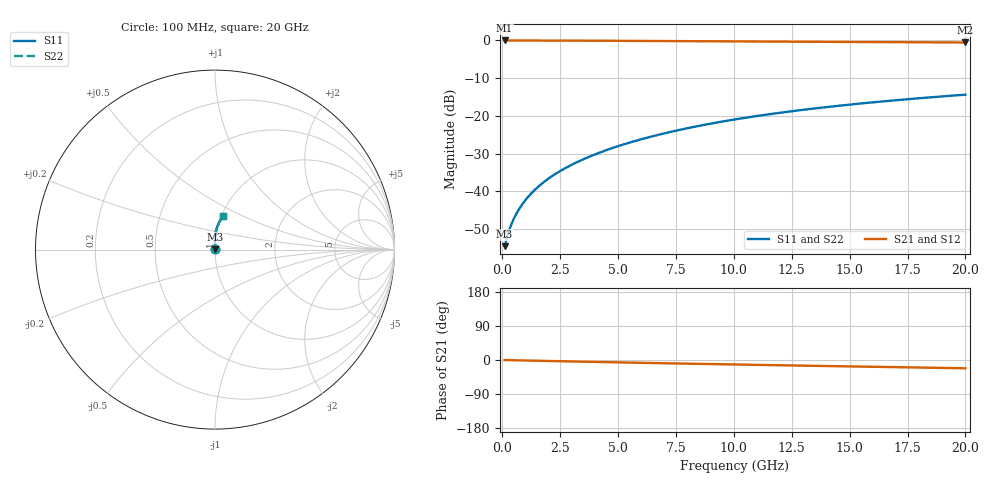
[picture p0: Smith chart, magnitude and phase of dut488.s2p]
! Touchstone file exported from HFSS 2024.1.0
!  File:  C:/UserFiles/LocalFiles/RDL_TSV_Batchsim/temp_RDL_bottom_488_1779686717.aedt
!  Generated:  01:27:39 PM May 25, 2026
!  Design:  RDL_bottom
!  Project:  temp_RDL_bottom_488_1779686717
!  Setup:  Setup1
!  Solution:  Sweep
! Variables:
!  dtsv = 10.80580581um
!  hbump = 3um
!  htsv = 57.82um
!  ldown = 321.21um
!  lrdl = 100um
!  p = 40
!  p1 = 44.08um
!  rhole = 1um
!  t = 450um
!  tdown = 3.15um
!  trdl = 3.915915916um
!  wdown = 25.92um
!  wrdl = 20um
# GHz S MA R 50.000000
! Terminal data exported
! Port[1] = RDL1_T1
! Port[2] = RDL1_T2
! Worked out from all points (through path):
!   200 points, 100 MHz to 20 GHz, reference 50 ohm
!   highest |S21| = -0.01 dB at 100 MHz (marker M1); lowest = -0.6 dB at 20 GHz (marker M2)
!   group delay of S21, straight-line fit = 3 ps
!   lowest |S11| = -54.5 dB at 100 MHz (marker M3), VSWR 1.00, Z = 50.2 + j0.0876 ohm
!   |S11| at or under -10 dB: start of sweep to end of sweep
!   |S22| runs from -54.5 to -14.4 dB; largest |S21 - S12| = 3e-15
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0.1  0.001882 27.6  0.9983 -0.1  0.9983 -0.1  0.001882 27.6
! Gamma 0 0 0 0
! Port Impedance 50 0 50 0
0.2  0.002442 44.0  0.9982 -0.3  0.9982 -0.3  0.002442 44.0
0.3  0.003079 53.0  0.9981 -0.4  0.9981 -0.4  0.003079 53.0
0.4  0.003723 58.8  0.998 -0.5  0.998 -0.5  0.003723 58.8
0.5  0.004367 63.1  0.9978 -0.7  0.9978 -0.7  0.004367 63.1
0.6  0.005013 66.4  0.9977 -0.8  0.9977 -0.8  0.005013 66.4
0.8  0.006327 71.5  0.9975 -1.1  0.9975 -1.1  0.006327 71.5
1  0.007675 75.1  0.9973 -1.3  0.9973 -1.3  0.007675 75.1
1.2  0.009054 77.8  0.9971 -1.6  0.9971 -1.6  0.009054 77.8
1.7  0.01262 82.5  0.9963 -2.2  0.9963 -2.2  0.01262 82.5
2.2  0.01633 85.4  0.9954 -2.9  0.9954 -2.9  0.01633 85.4
2.8  0.02097 87.7  0.9941 -3.6  0.9941 -3.6  0.02097 87.7
3.5  0.02664 89.5  0.9923 -4.5  0.9923 -4.5  0.02664 89.5
4.2  0.0326 90.6  0.9902 -5.3  0.9902 -5.3  0.0326 90.6
5  0.03972 91.3  0.9876 -6.3  0.9876 -6.3  0.03972 91.3
6.8  0.05681 91.4  0.9813 -8.4  0.9813 -8.4  0.05681 91.4
8.4  0.07285 90.3  0.9755 -10.1  0.9755 -10.1  0.07285 90.3
10.1  0.09036 88.7  0.9696 -11.9  0.9696 -11.9  0.09035 88.7
11.7  0.107 86.9  0.9642 -13.6  0.9642 -13.6  0.107 86.9
13.4  0.1246 84.8  0.9587 -15.3  0.9587 -15.3  0.1246 84.8
16.7  0.1584 80.7  0.9484 -18.6  0.9484 -18.6  0.1584 80.7
20  0.191 76.6  0.9384 -21.9  0.9384 -21.9  0.1909 76.6
